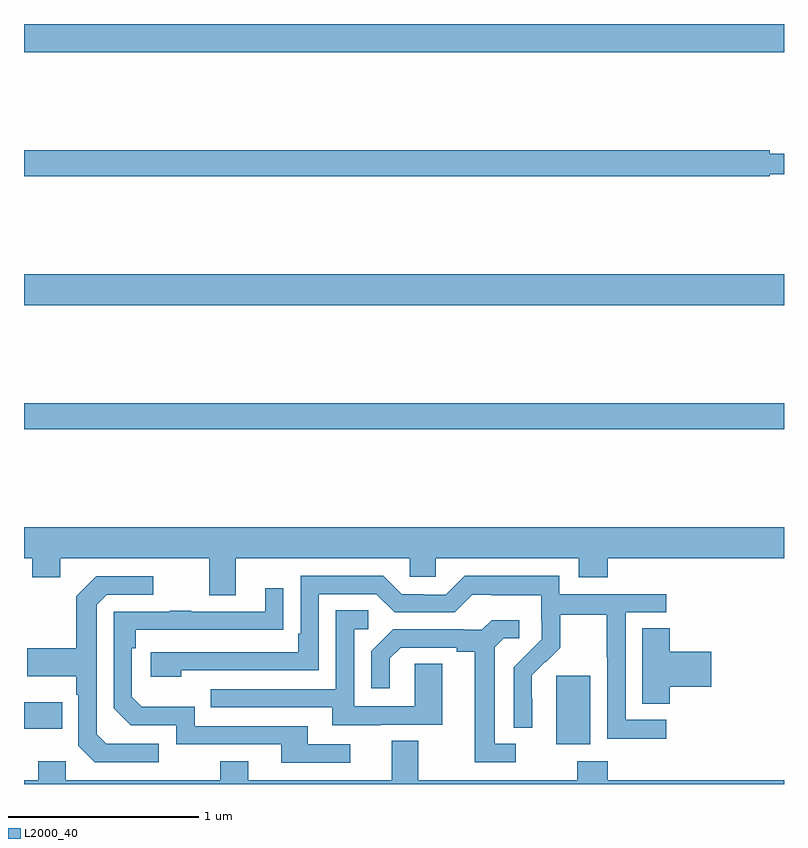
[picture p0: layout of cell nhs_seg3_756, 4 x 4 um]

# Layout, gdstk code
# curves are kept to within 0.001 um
import gdstk
lib = gdstk.Library(unit=1e-6, precision=1e-09)
def R(c, l, rs):  # rectangles x0, y0, x1, y1
    for r in rs: c.add(gdstk.rectangle(r[:2], r[2:], *l))
def P(c, l, *ps):  # polygons
    for p in ps: c.add(gdstk.Polygon(p, *l))
L2000_40 = (2000, 40)

nhs_seg3_756 = lib.new_cell('nhs_seg3_756')
R(nhs_seg3_756, L2000_40, [(151.802,694.61,151.981,694.971), (149,694.691,149.201,694.831), (149,696.268,153,696.404), (149,696.92,153,697.084), (149,698.252,153,698.4)])
P(nhs_seg3_756, L2000_40, [(152.926,697.608),(153,697.608),(153,697.717),(152.924,697.717),(152.924,697.736),(149,697.736),(149,697.6),(152.926,697.6)],
  [(150.115,695.588),(151.029,695.588),(151.029,695.49),(151.167,695.49),(151.167,695.588),(151.919,695.588),(151.919,695.489),(152.072,695.489),(152.072,695.588),(153,695.588),(153,695.752),(149,695.752),(149,695.588),(149.044,695.588),(149.044,695.489),(149.191,695.489),(149.191,695.588),(149.975,695.588),(149.975,695.394),(150.115,695.394)],
  [(152.38,694.737),(152.166,694.737),(152.166,695.304),(152.38,695.304),(152.38,695.4),(151.818,695.4),(151.818,695.497),(151.321,695.497),(151.221,695.397),(151.106,695.397),(151.106,695.4),(150.987,695.4),(150.891,695.496),(150.456,695.496),(150.456,695.191),(150.443,695.191),(150.443,695.094),(149.667,695.094),(149.667,694.964),(149.828,694.964),(149.828,694.998),(150.552,694.998),(150.552,695.4),(150.855,695.4),(150.951,695.304),(151.266,695.304),(151.359,695.397),(151.459,695.397),(151.459,695.393),(151.722,695.393),(151.722,695.259),(151.724,695.259),(151.724,695.162),(151.578,695.014),(151.578,694.696),(151.674,694.696),(151.673,694.973),(151.743,695.043),(151.746,695.04),(151.823,695.117),(151.823,695.292),(152.068,695.292),(152.068,695.068),(152.07,695.068),(152.07,694.639),(152.38,694.639)],
  [(149.71,694.611),(149.433,694.611),(149.382,694.662),(149.382,695.343),(149.436,695.397),(149.68,695.397),(149.68,695.493),(149.379,695.493),(149.274,695.387),(149.274,695.115),(149.017,695.115),(149.017,694.967),(149.274,694.967),(149.274,694.871),(149.286,694.871),(149.286,694.602),(149.373,694.515),(149.71,694.515)],
  [(150.718,694.608),(150.493,694.608),(150.493,694.704),(149.898,694.704),(149.898,694.807),(149.621,694.807),(149.568,694.86),(149.568,695.114),(149.588,695.114),(149.588,695.211),(150.365,695.212),(150.365,695.431),(150.269,695.431),(150.269,695.307),(149.879,695.307),(149.879,695.312),(149.767,695.312),(149.767,695.307),(149.472,695.307),(149.472,694.8),(149.562,694.71),(149.802,694.71),(149.802,694.608),(150.353,694.608),(150.353,694.512),(150.718,694.512)],
  [(150.877,694.713),(151.201,694.713),(151.201,695.033),(151.056,695.033),(151.056,694.809),(150.738,694.809),(150.738,695.214),(150.811,695.214),(150.811,695.315),(150.642,695.315),(150.642,694.899),(149.983,694.899),(149.983,694.803),(150.623,694.803),(150.623,694.709),(150.877,694.709)],
  [(151.588,694.611),(151.477,694.611),(151.477,695.119),(151.524,695.166),(151.606,695.166),(151.606,695.263),(151.462,695.263),(151.41,695.211),(151.316,695.211),(151.316,695.214),(150.944,695.214),(150.828,695.098),(150.828,694.905),(150.925,694.905),(150.925,695.061),(150.982,695.118),(151.277,695.118),(151.277,695.096),(151.373,695.096),(151.373,694.515),(151.588,694.515)],
  [(152.399,694.913),(152.617,694.913),(152.617,695.096),(152.399,695.096),(152.399,695.219),(152.255,695.219),(152.255,694.822),(152.399,694.822)],
  [(153,694.42),(152.072,694.42),(152.072,694.519),(151.912,694.519),(151.912,694.42),(151.075,694.42),(151.075,694.628),(150.935,694.628),(150.935,694.42),(150.181,694.42),(150.181,694.519),(150.034,694.519),(150.034,694.42),(149.22,694.42),(149.22,694.519),(149.074,694.519),(149.074,694.42),(149,694.42),(149,694.4),(153,694.4)])

lib.write_gds('nhs_seg3_756.gds')
